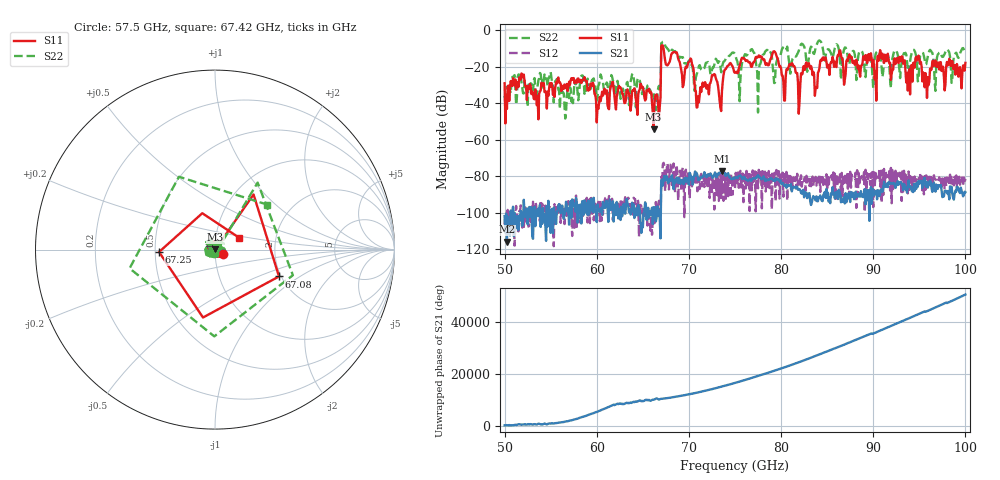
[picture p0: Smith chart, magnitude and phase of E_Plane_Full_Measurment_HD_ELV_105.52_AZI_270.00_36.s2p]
! 11/26/2026 3:33:52 PM
! C:\ANRITSUVNA\TEMP\TEMP.S2P
! CHANNEL.1
! TR.MEASUREMENT
! RAW.DATA
# HZ S RI R 50.0
! FREQ.HZ  S11RE  S11IM  S21RE  S21IM  S12RE  S12IM  S22RE  S22IM
!; PortSelection: Port_12
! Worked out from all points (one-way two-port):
!   601 points, 50 GHz to 100 GHz, reference 50 ohm
!   highest |S21| = -77.18 dB at 73.58 GHz (marker M1); lowest = -115.9 dB at 50.25 GHz (marker M2)
!   lowest |S11| = -54.2 dB at 66.17 GHz (marker M3), VSWR 1.00, Z = 50.1 + j0.141 ohm
!   |S11| at or under -10 dB: start of sweep to 67 GHz; 67.24 GHz to end of sweep
!   |S22| runs from -48.3 to -5.6 dB; largest |S21 - S12| = 0.0003
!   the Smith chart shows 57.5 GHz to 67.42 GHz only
!   S11 on the Smith chart (normalised r, x): 57.5 GHz: 1.09, -0.05; 67.08 GHz: 1.95, -0.69; 67.25 GHz: 0.52, -0.02; 67.42 GHz: 1.29, +0.18
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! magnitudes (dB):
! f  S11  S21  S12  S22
! 50 GHz  -29.0  -101.8  -106.3  -35.8
! 50.25 GHz  -43.1  -115.9  -99.5  -33.8
! 57.5 GHz  -26.2  -96.2  -92.9  -34.6
! 58.42 GHz  -27.2  -93.6  -97.2  -24.7
! 60.17 GHz  -43.1  -98.7  -94.0  -30.4
! 66.17 GHz  -54.2  -96.9  -98.2  -34.0
! 66.67 GHz  -41.5  -101.4  -97.2  -31.6
! 67.08 GHz  -8.3  -81.8  -84.5  -6.8
! 67.25 GHz  -10.1  -82.3  -72.6  -6.2
! 67.42 GHz  -16.5  -82.2  -88.1  -8.3
! 70.17 GHz  -15.5  -78.9  -79.8  -18.5
! 70.67 GHz  -33.1  -77.3  -82.0  -33.0
! 73.58 GHz  -33.5  -77.2  -79.8  -21.2
! 75 GHz  -23.3  -80.9  -86.6  -13.0
! 79.25 GHz  -11.5  -82.2  -80.1  -28.9
! 80.25 GHz  -28.0  -84.6  -91.2  -9.3
! 83.42 GHz  -24.6  -92.2  -80.2  -10.8
! 91.67 GHz  -16.8  -83.2  -80.5  -15.2
! 93.75 GHz  -33.0  -85.9  -89.3  -21.3
! 94.83 GHz  -15.0  -85.7  -80.5  -28.0
! 95.83 GHz  -37.1  -83.1  -86.1  -16.5
! 100 GHz  -17.9  -88.7  -81.4  -12.6
